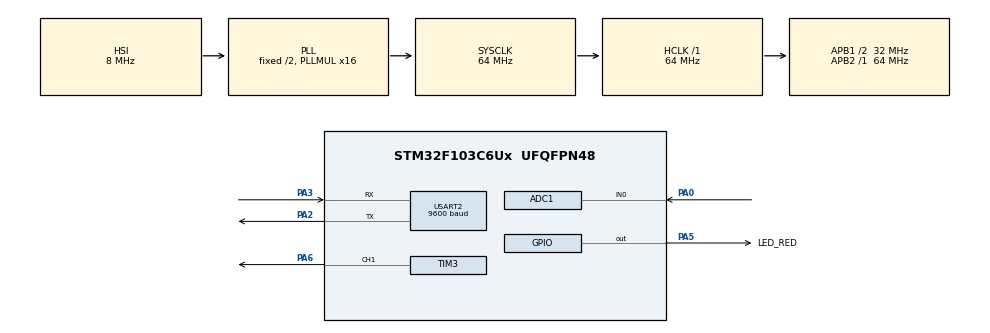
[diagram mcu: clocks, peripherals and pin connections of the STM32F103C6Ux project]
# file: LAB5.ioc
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ADC1.Channel-0\#ChannelRegularConversion=ADC_CHANNEL_0
ADC1.ContinuousConvMode=ENABLE
ADC1.NbrOfConversionFlag=1
ADC1.Rank-0\#ChannelRegularConversion=1
ADC1.SamplingTime-0\#ChannelRegularConversion=ADC_SAMPLETIME_1CYCLE_5
ADC1.master=1
Mcu.Family=STM32F1
Mcu.Name=STM32F103C6Ux
Mcu.Package=UFQFPN48
NVIC.PriorityGroup=NVIC_PRIORITYGROUP_4
NVIC.TIM2_IRQn=true\:0\:0\:false\:false\:true\:true\:true\:true
NVIC.USART2_IRQn=true\:0\:0\:false\:false\:true\:true\:true\:true
PA0-WKUP.Signal=ADCx_IN0
PA2.Mode=Asynchronous
PA2.Signal=USART2_TX
PA3.Mode=Asynchronous
PA3.Signal=USART2_RX
PA5.GPIO_Label=LED_RED
PA5.Signal=GPIO_Output
PA6.Signal=S_TIM3_CH1
ProjectManager.HeapSize=0x200
ProjectManager.StackSize=0x400
ProjectManager.TargetToolchain=STM32CubeIDE
RCC.ADCPresc=RCC_ADCPCLK2_DIV6
RCC.AHBFreq_Value=64000000
RCC.APB1CLKDivider=RCC_HCLK_DIV2
RCC.APB1Freq_Value=32000000
RCC.APB1TimFreq_Value=64000000
RCC.APB2Freq_Value=64000000
RCC.APB2TimFreq_Value=64000000
RCC.HCLKFreq_Value=64000000
RCC.PLLMUL=RCC_PLL_MUL16
RCC.SYSCLKFreq_VALUE=64000000
RCC.SYSCLKSource=RCC_SYSCLKSOURCE_PLLCLK
RCC.USBFreq_Value=64000000
SH.ADCx_IN0.0=ADC1_IN0,IN0
SH.S_TIM3_CH1.0=TIM3_CH1,PWM Generation1 CH1
TIM2.Period=999
TIM2.Prescaler=63
TIM3.Channel-PWM\ Generation1\ CH1=TIM_CHANNEL_1
TIM3.Period=999
TIM3.Prescaler=63
USART2.BaudRate=9600
USART2.VirtualMode=VM_ASYNC
VP_SYS_VS_ND.Mode=No_Debug
VP_TIM2_VS_ClockSourceINT.Mode=Internal
board=custom

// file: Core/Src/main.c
/* USER CODE BEGIN Header */
/**
  ******************************************************************************
  * @file           : main.c
  * @brief          : Main program body
  ******************************************************************************
  * @attention
  *
  * Copyright (c) 2022 STMicroelectronics.
  * All rights reserved.
  *
  * This software is licensed under terms that can be found in the LICENSE file
  * in the root directory of this software component.
  * If no LICENSE file comes with this software, it is provided AS-IS.
  *
  ******************************************************************************
  */
/* USER CODE END Header */
#include "main.h"
#include "timer.h"
#include "command_parser.h"
#include "uart_communication.h"

ADC_HandleTypeDef hadc1;

TIM_HandleTypeDef htim2;
TIM_HandleTypeDef htim3;

UART_HandleTypeDef huart2;

void SystemClock_Config(void);
static void MX_GPIO_Init(void);
static void MX_ADC1_Init(void);
static void MX_TIM2_Init(void);
static void MX_TIM3_Init(void);
static void MX_USART2_UART_Init(void);

/* USER CODE BEGIN 0 */
#define MAX_BUFFER_SIZE 30
uint8_t temp = 0;
uint8_t index_buffer = 0;
uint8_t buffer[MAX_BUFFER_SIZE];
uint8_t buffer_flag = 0;

void HAL_UART_RxCpltCallback ( UART_HandleTypeDef * huart ) {
	 if( huart -> Instance == USART2 ) {

	 buffer [ index_buffer ++] = temp ;
	 if( index_buffer == 30) index_buffer = 0;

	 buffer_flag = 1;
	 HAL_UART_Transmit (& huart2 , &temp , 1, 50);
	 HAL_UART_Receive_IT (& huart2 , & temp , 1) ;
	 }
 }
/* USER CODE END 0 */

int main(void)
{

  /* MCU Configuration--------------------------------------------------------*/

  /* Reset of all peripherals, Initializes the Flash interface and the Systick. */
  HAL_Init();

  /* Configure the system clock */
  SystemClock_Config();

  /* Initialize all configured peripherals */
  MX_GPIO_Init();
  MX_ADC1_Init();
  MX_TIM2_Init();
  MX_TIM3_Init();
  MX_USART2_UART_Init();
  /* USER CODE BEGIN 2 */
  HAL_TIM_Base_Start_IT(& htim2);

  /* USER CODE END 2 */

  /* Infinite loop */
  /* USER CODE BEGIN WHILE */
  HAL_ADC_Start(&hadc1);
  HAL_UART_Receive_IT(&huart2, &temp, 1);

  setTimer0(10);
  setTimer1(10);
  while (1)
  {
    /* USER CODE END WHILE */
	 if (timer0_flag == 1){
		 HAL_GPIO_TogglePin ( LED_RED_GPIO_Port , LED_RED_Pin ) ;
		  setTimer0(1000) ;
	 }
	if( buffer_flag == 1) {
	   command_parser_fsm () ;
	   buffer_flag = 0;
	 }
	uart_communication_fsm() ;
  }
}

void SystemClock_Config(void)
{
  RCC_OscInitTypeDef RCC_OscInitStruct = {0};
  RCC_ClkInitTypeDef RCC_ClkInitStruct = {0};
  RCC_PeriphCLKInitTypeDef PeriphClkInit = {0};

  /** Initializes the RCC Oscillators according to the specified parameters
  * in the RCC_OscInitTypeDef structure.
  */
  RCC_OscInitStruct.OscillatorType = RCC_OSCILLATORTYPE_HSI;
  RCC_OscInitStruct.HSIState = RCC_HSI_ON;
  RCC_OscInitStruct.HSICalibrationValue = RCC_HSICALIBRATION_DEFAULT;
  RCC_OscInitStruct.PLL.PLLState = RCC_PLL_ON;
  RCC_OscInitStruct.PLL.PLLSource = RCC_PLLSOURCE_HSI_DIV2;
  RCC_OscInitStruct.PLL.PLLMUL = RCC_PLL_MUL16;
  if (HAL_RCC_OscConfig(&RCC_OscInitStruct) != HAL_OK)
  {
    Error_Handler();
  }

  /** Initializes the CPU, AHB and APB buses clocks
  */
  RCC_ClkInitStruct.ClockType = RCC_CLOCKTYPE_HCLK|RCC_CLOCKTYPE_SYSCLK
                              |RCC_CLOCKTYPE_PCLK1|RCC_CLOCKTYPE_PCLK2;
  RCC_ClkInitStruct.SYSCLKSource = RCC_SYSCLKSOURCE_PLLCLK;
  RCC_ClkInitStruct.AHBCLKDivider = RCC_SYSCLK_DIV1;
  RCC_ClkInitStruct.APB1CLKDivider = RCC_HCLK_DIV2;
  RCC_ClkInitStruct.APB2CLKDivider = RCC_HCLK_DIV1;

  if (HAL_RCC_ClockConfig(&RCC_ClkInitStruct, FLASH_LATENCY_2) != HAL_OK)
  {
    Error_Handler();
  }
  PeriphClkInit.PeriphClockSelection = RCC_PERIPHCLK_ADC;
  PeriphClkInit.AdcClockSelection = RCC_ADCPCLK2_DIV6;
  if (HAL_RCCEx_PeriphCLKConfig(&PeriphClkInit) != HAL_OK)
  {
    Error_Handler();
  }
}

static void MX_ADC1_Init(void)
{

  ADC_ChannelConfTypeDef sConfig = {0};

  /** Common config
  */
  hadc1.Instance = ADC1;
  hadc1.Init.ScanConvMode = ADC_SCAN_DISABLE;
  hadc1.Init.ContinuousConvMode = ENABLE;
  hadc1.Init.DiscontinuousConvMode = DISABLE;
  hadc1.Init.ExternalTrigConv = ADC_SOFTWARE_START;
  hadc1.Init.DataAlign = ADC_DATAALIGN_RIGHT;
  hadc1.Init.NbrOfConversion = 1;
  if (HAL_ADC_Init(&hadc1) != HAL_OK)
  {
    Error_Handler();
  }

  /** Configure Regular Channel
  */
  sConfig.Channel = ADC_CHANNEL_0;
  sConfig.Rank = ADC_REGULAR_RANK_1;
  sConfig.SamplingTime = ADC_SAMPLETIME_1CYCLE_5;
  if (HAL_ADC_ConfigChannel(&hadc1, &sConfig) != HAL_OK)
  {
    Error_Handler();
  }

}

static void MX_TIM2_Init(void)
{

  TIM_ClockConfigTypeDef sClockSourceConfig = {0};
  TIM_MasterConfigTypeDef sMasterConfig = {0};

  htim2.Instance = TIM2;
  htim2.Init.Prescaler = 63;
  htim2.Init.CounterMode = TIM_COUNTERMODE_UP;
  htim2.Init.Period = 999;
  htim2.Init.ClockDivision = TIM_CLOCKDIVISION_DIV1;
  htim2.Init.AutoReloadPreload = TIM_AUTORELOAD_PRELOAD_DISABLE;
  if (HAL_TIM_Base_Init(&htim2) != HAL_OK)
  {
    Error_Handler();
  }
  sClockSourceConfig.ClockSource = TIM_CLOCKSOURCE_INTERNAL;
  if (HAL_TIM_ConfigClockSource(&htim2, &sClockSourceConfig) != HAL_OK)
  {
    Error_Handler();
  }
  sMasterConfig.MasterOutputTrigger = TIM_TRGO_RESET;
  sMasterConfig.MasterSlaveMode = TIM_MASTERSLAVEMODE_DISABLE;
  if (HAL_TIMEx_MasterConfigSynchronization(&htim2, &sMasterConfig) != HAL_OK)
  {
    Error_Handler();
  }

}

static void MX_TIM3_Init(void)
{

  TIM_MasterConfigTypeDef sMasterConfig = {0};
  TIM_OC_InitTypeDef sConfigOC = {0};

  htim3.Instance = TIM3;
  htim3.Init.Prescaler = 63;
  htim3.Init.CounterMode = TIM_COUNTERMODE_UP;
  htim3.Init.Period = 999;
  htim3.Init.ClockDivision = TIM_CLOCKDIVISION_DIV1;
  htim3.Init.AutoReloadPreload = TIM_AUTORELOAD_PRELOAD_DISABLE;
  if (HAL_TIM_PWM_Init(&htim3) != HAL_OK)
  {
    Error_Handler();
  }
  sMasterConfig.MasterOutputTrigger = TIM_TRGO_RESET;
  sMasterConfig.MasterSlaveMode = TIM_MASTERSLAVEMODE_DISABLE;
  if (HAL_TIMEx_MasterConfigSynchronization(&htim3, &sMasterConfig) != HAL_OK)
  {
    Error_Handler();
  }
  sConfigOC.OCMode = TIM_OCMODE_PWM1;
  sConfigOC.Pulse = 0;
  sConfigOC.OCPolarity = TIM_OCPOLARITY_HIGH;
  sConfigOC.OCFastMode = TIM_OCFAST_DISABLE;
  if (HAL_TIM_PWM_ConfigChannel(&htim3, &sConfigOC, TIM_CHANNEL_1) != HAL_OK)
  {
    Error_Handler();
  }
  HAL_TIM_MspPostInit(&htim3);

}

static void MX_USART2_UART_Init(void)
{

  huart2.Instance = USART2;
  huart2.Init.BaudRate = 9600;
  huart2.Init.WordLength = UART_WORDLENGTH_8B;
  huart2.Init.StopBits = UART_STOPBITS_1;
  huart2.Init.Parity = UART_PARITY_NONE;
  huart2.Init.Mode = UART_MODE_TX_RX;
  huart2.Init.HwFlowCtl = UART_HWCONTROL_NONE;
  huart2.Init.OverSampling = UART_OVERSAMPLING_16;
  if (HAL_UART_Init(&huart2) != HAL_OK)
  {
    Error_Handler();
  }

}

static void MX_GPIO_Init(void)
{
  GPIO_InitTypeDef GPIO_InitStruct = {0};

  /* GPIO Ports Clock Enable */
  __HAL_RCC_GPIOA_CLK_ENABLE();

  /*Configure GPIO pin Output Level */
  HAL_GPIO_WritePin(LED_RED_GPIO_Port, LED_RED_Pin, GPIO_PIN_RESET);

  /*Configure GPIO pin : LED_RED_Pin */
  GPIO_InitStruct.Pin = LED_RED_Pin;
  GPIO_InitStruct.Mode = GPIO_MODE_OUTPUT_PP;
  GPIO_InitStruct.Pull = GPIO_NOPULL;
  GPIO_InitStruct.Speed = GPIO_SPEED_FREQ_LOW;
  HAL_GPIO_Init(LED_RED_GPIO_Port, &GPIO_InitStruct);

}

void Error_Handler(void)
{
  __disable_irq();
  while (1)
  {
  }
}
